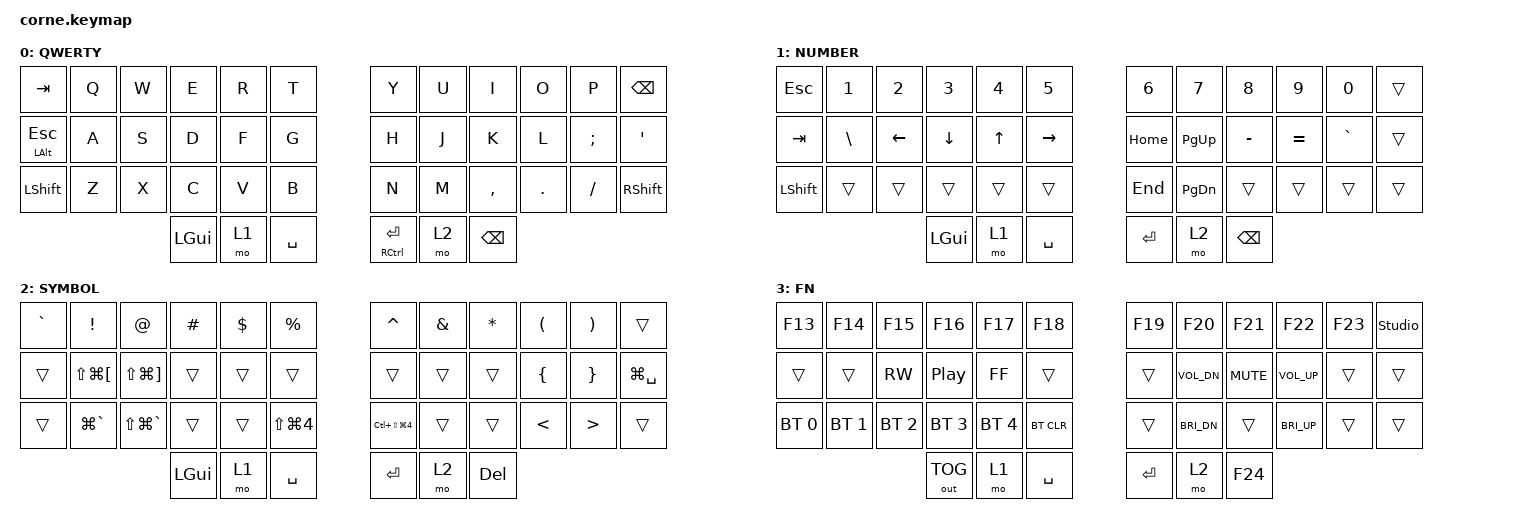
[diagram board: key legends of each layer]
/*
 * Corne (Typeractive, nice!nano v2 + nice!view).
 * Ported from the QMK/Vial "W-CORNE" layout (layout.vil).
 *
 * Notes on the port:
 *  - The QMK board's right-hand inner column held arrow keys, shifting its
 *    letters one column outward. This is a standard 6-column Corne, so the
 *    right hand sits in standard columns (H/Y/N on the inner index column).
 *  - Arrow keys live on the Lower layer (left home row), per request.
 *  - QMK thumb surplus folded in: LALT -> hold on left-pinky (tap = ESC);
 *    LCTRL -> hold on the right Enter thumb.
 *  - Layer 3 (FN) holds the Bluetooth controls; reached by the tri-layer
 *    (hold Lower + Raise together).
 */

#include <behaviors.dtsi>
#include <dt-bindings/zmk/keys.h>
#include <dt-bindings/zmk/bt.h>
#include <dt-bindings/zmk/outputs.h>

/*
 * &studio_unlock exists only when CONFIG_ZMK_STUDIO=y (the *_with_studio
 * build). The plain left/right builds share this keymap, so alias the label
 * to &trans there — otherwise those 3 builds fail with "label not found".
 */
#ifndef CONFIG_ZMK_STUDIO
#define studio_unlock trans
#endif

/ {
    chosen {
        zmk,physical-layout = &foostan_corne_6col_layout;
    };

    conditional_layers {
        compatible = "zmk,conditional-layers";
        tri_layer {
            if-layers = <1 2>;
            then-layer = <3>;
        };
    };

    keymap {
        compatible = "zmk,keymap";

        default_layer {
            display-name = "QWERTY";
// ------------------------------------------------------------------------------------------
// | TAB       |  Q  |  W  |  E  |  R  |  T  |   |  Y  |  U  |  I  |  O  |  P  | BSPC |
// | ESC/⌥hold |  A  |  S  |  D  |  F  |  G  |   |  H  |  J  |  K  |  L  |  ;  |  '   |
// | SHFT      |  Z  |  X  |  C  |  V  |  B  |   |  N  |  M  |  ,  |  .  |  /  | SHFT |
//                         | CMD | LWR | SPC |   | RET/^hold | RSE | BSPC |
            bindings = <
&kp TAB       &kp Q  &kp W  &kp E     &kp R  &kp T          &kp Y          &kp U  &kp I      &kp O    &kp P     &kp BSPC
&mt LALT ESC  &kp A  &kp S  &kp D     &kp F  &kp G          &kp H          &kp J  &kp K      &kp L    &kp SEMI  &kp SQT
&kp LSHFT     &kp Z  &kp X  &kp C     &kp V  &kp B          &kp N          &kp M  &kp COMMA  &kp DOT  &kp FSLH  &kp RSHFT
                            &kp LGUI  &mo 1  &kp SPACE      &mt RCTRL RET  &mo 2  &kp BSPC
            >;
        };

        lower_layer {
            display-name = "NUMBER";
// ------------------------------------------------------------------------------------------
// | ESC  |  1  |  2  |  3  |  4  |  5  |   |  6  |  7  |  8  |  9  |  0  |     |
// | TAB  |  \  | LFT | DWN |  UP | RGT |   | HOME| PGUP|  -  |  =  |  `  |     |
// | SHFT |     |     |     |     |     |   | END | PGDN|     |     |     |     |
//                    | CMD | LWR | SPC |   | RET | RSE | BSPC |
            bindings = <
&kp ESC    &kp N1    &kp N2    &kp N3    &kp N4  &kp N5         &kp N6    &kp N7     &kp N8     &kp N9     &kp N0     &trans
&kp TAB    &kp BSLH  &kp LEFT  &kp DOWN  &kp UP  &kp RIGHT      &kp HOME  &kp PG_UP  &kp MINUS  &kp EQUAL  &kp GRAVE  &trans
&kp LSHFT  &trans    &trans    &trans    &trans  &trans         &kp END   &kp PG_DN  &trans     &trans     &trans     &trans
                               &kp LGUI  &mo 1   &kp SPACE      &kp RET   &mo 2      &kp BSPC
            >;
        };

        raise_layer {
            display-name = "SYMBOL";
// ------------------------------------------------------------------------------------------
// |  `  |  !  |  @  |  #  |  $  |  %  |   |  ^  |  &  |  *  |  (  |  )  |     |
// |     | ⌘⇧[ | ⌘⇧] |     |     |     |   |     |     |     |  {  |  }  | ⌘SPC |
// |     |  ⌘` | ⌘⇧` |     |     | ⌘⇧4 |   |⌃⌘⇧4 |     |     |  <  |  >  |     |
//                   | CMD | LWR | SPC |   | RET | RSE | DEL |
            bindings = <
&kp GRAVE  &kp EXCL          &kp AT             &kp HASH  &kp DLLR  &kp PRCNT        &kp CARET           &kp AMPS  &kp ASTRK  &kp LPAR  &kp RPAR  &trans
&trans     &kp LS(LG(LBKT))  &kp LS(LG(RBKT))   &trans    &trans    &trans           &trans              &trans    &trans     &kp LBRC  &kp RBRC  &kp LG(SPACE)
&trans     &kp LG(GRAVE)     &kp LS(LG(GRAVE))  &trans    &trans    &kp LS(LG(N4))   &kp LC(LS(LG(N4)))  &trans    &trans     &kp LT    &kp GT    &trans
                                                &kp LGUI  &mo 1     &kp SPACE        &kp RET             &mo 2     &kp DEL
            >;
        };

        fn_layer {
            display-name = "FN";
// ------------------------------------------------------------------------------------------
// | F13 | F14 | F15 | F16 | F17 | F18 |   | F19 | F20 | F21 | F22 | F23 | UNLK |
// |     |     | ⏮  | ⏯  |  ⏭ |     |   |     | VOL-| MUTE| VOL+|     |     |
// | BT0 | BT1 | BT2 | BT3 | BT4 | BCLR|   |     | BRI-|     | BRI+|     |     |
//                   |OUTtg| LWR | SPC |   | RET | RSE | F24 |
            bindings = <
&kp F13       &kp F14       &kp F15       &kp F16       &kp F17       &kp F18       &kp F19  &kp F20       &kp F21     &kp F22       &kp F23  &studio_unlock
&trans        &trans        &kp C_RW      &kp C_PP      &kp C_FF      &trans        &trans   &kp C_VOL_DN  &kp C_MUTE  &kp C_VOL_UP  &trans   &trans
&bt BT_SEL 0  &bt BT_SEL 1  &bt BT_SEL 2  &bt BT_SEL 3  &bt BT_SEL 4  &bt BT_CLR    &trans   &kp C_BRI_DN  &trans      &kp C_BRI_UP  &trans   &trans
                                          &out OUT_TOG  &mo 1         &kp SPACE     &kp RET  &mo 2         &kp F24
            >;
        };
    };
};
